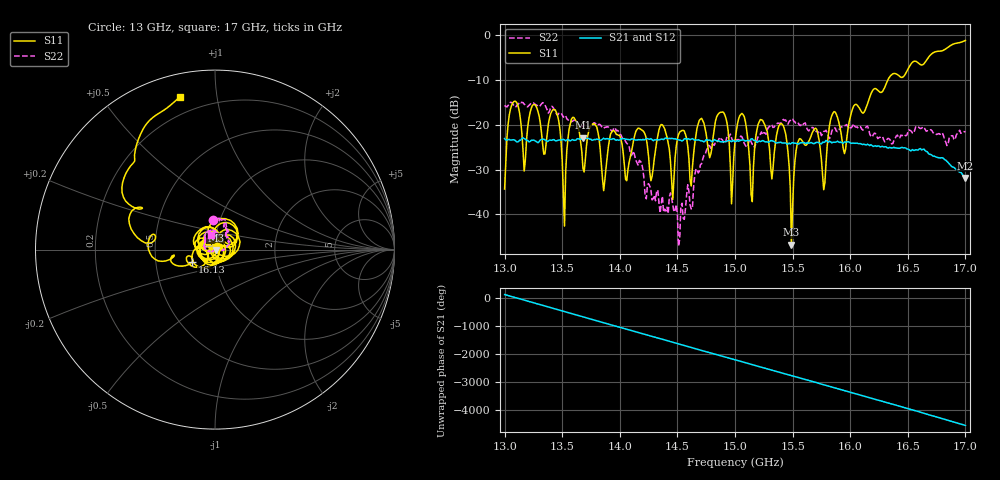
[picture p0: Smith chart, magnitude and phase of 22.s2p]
!Keysight Technologies,P9374A,MY57211807,A.19.30.04
!Date: Friday, May 01, 2026 14:48:57
!Correction: S11(C  2-Port  )
!S21(C  2-Port  )
!S12(C  2-Port  )
!S22(C  2-Port  )
!S2P File: Measurements: S11, S21, S12, S22:
# Hz S  RI  R 50
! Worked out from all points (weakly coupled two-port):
!   401 points, 13 GHz to 17 GHz, reference 50 ohm
!   highest |S21| = -22.87 dB at 13.68 GHz (marker M1); lowest = -31.9 dB at 17 GHz (marker M2)
!   lowest |S11| = -46.8 dB at 15.49 GHz (marker M3), VSWR 1.01, Z = 50.4 - j0.214 ohm
!   |S11| at or under -10 dB: start of sweep to 16.33 GHz
!   |S22| runs from -47.1 to -14.9 dB; largest |S21 - S12| = 0.0021
!   S11 on the Smith chart (normalised r, x): 13 GHz: 1.03, +0.03; 16.13 GHz: 0.77, -0.11; 17 GHz: 0.11, +0.79
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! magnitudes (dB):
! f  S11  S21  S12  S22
! 13 GHz  -34.4  -23.1  -23.0  -15.7
! 13.09 GHz  -14.7  -23.5  -23.5  -16.0
! 13.17 GHz  -30.3  -23.1  -23.0  -15.4
! 13.26 GHz  -15.5  -23.5  -23.5  -15.3
! 13.45 GHz  -17.3  -23.6  -23.6  -17.6
! 13.52 GHz  -42.6  -23.4  -23.4  -18.0
! 13.59 GHz  -18.4  -23.3  -23.3  -19.2
! 13.67 GHz  -25.9  -23.0  -23.1  -20.5
! 13.68 GHz  -29.6  -22.9  -22.9  -20.2
! 14.28 GHz  -31.6  -23.3  -23.3  -36.8
! 14.34 GHz  -21.1  -23.4  -23.4  -37.4
! 14.46 GHz  -36.7  -23.1  -23.0  -37.8
! 14.7 GHz  -18.7  -23.6  -23.6  -28.9
! 15 GHz  -23.8  -23.8  -23.7  -23.1
! 15.41 GHz  -19.9  -24.1  -24.1  -19.1
! 15.49 GHz  -46.8  -24.1  -24.1  -18.7
! 15.67 GHz  -21.8  -24.1  -24.1  -20.6
! 15.77 GHz  -34.5  -23.9  -23.9  -21.5
! 15.85 GHz  -17.4  -23.9  -23.9  -20.8
! 16.13 GHz  -16.7  -24.4  -24.4  -20.9
! 16.34 GHz  -9.4  -25.1  -25.0  -23.2
! 17 GHz  -1.2  -31.9  -31.8  -21.6
